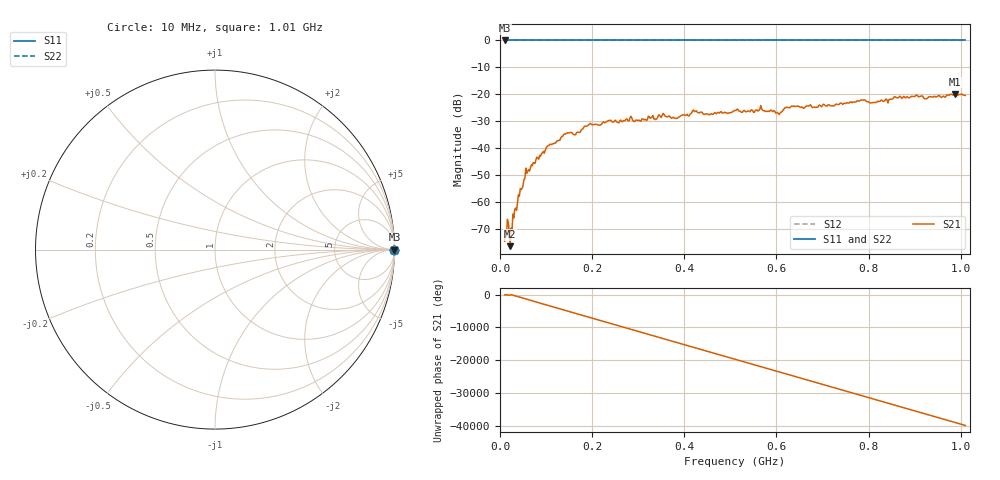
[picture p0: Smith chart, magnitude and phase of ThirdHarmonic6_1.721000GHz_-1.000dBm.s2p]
! 8/16/2025 8:43:11 PM
! C:\ANRITSUVNA\TEMP\TEMP.S2P
! CHANNEL.1
! TR.MEASUREMENT
! RAW.DATA
! RF.CORRECTION.OFF
! AVERAGING.OFF
! IF.BANDWIDTH: 5KHZ
! SWEEPTYPE:  FREQ.SWEEP(Linear)
! Reference Plane Port Info
! PORT:  PORT1  PORT2
! DISTANCE:  0  m  0  m
! TIME:  0  s  0  s
! PHASE.OFFSET:  0  deg.  0  deg.
! LOSS:  0  dB  0  dB
! REF.LOSS:  0  dB  0  dB
! REF.FREQ:  0  Hz  0  Hz
! Power Info
! POWER:  -20  dBm  -20  dBm
! EFF.POWER:  -20  dBm  -20  dBm
! SOURCE.ATTEN:  0  dB  0  dB
! TEST.ATTEN:  0  dB  0  dB
# GHZ S RI R 50.0
! FREQ.GHZ  S11RE  S11IM  S21RE  S21IM  S12RE  S12IM  S22RE  S22IM
!; PortSelection: Port_12
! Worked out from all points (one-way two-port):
!   501 points, 10 MHz to 1.01 GHz, reference 50 ohm
!   highest |S21| = -19.91 dB at 988 MHz (marker M1); lowest = -76.6 dB at 22 MHz (marker M2)
!   lowest |S11| = 0.0 dB at 10 MHz (marker M3)
!   |S11| at or under -10 dB: nowhere
!   |S22| runs from 0.0 to 0.0 dB; largest |S21 - S12| = 1.1
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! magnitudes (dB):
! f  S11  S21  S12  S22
! 10 MHz  0.0  -74.7  0.0  0.0
! 16 MHz  0.0  -66.6  0.0  0.0
! 22 MHz  0.0  -76.6  0.0  0.0
! 26 MHz  0.0  -71.1  0.0  0.0
! 28 MHz  0.0  -64.6  0.0  0.0
! 42 MHz  0.0  -58.0  0.0  0.0
! 60 MHz  0.0  -48.7  0.0  0.0
! 106 MHz  0.0  -39.1  0.0  0.0
! 142 MHz  0.0  -34.8  0.0  0.0
! 178 MHz  0.0  -33.0  0.0  0.0
! 236 MHz  0.0  -29.8  0.0  0.0
! 344 MHz  0.0  -27.8  0.0  0.0
! 382 MHz  0.0  -29.0  0.0  0.0
! 422 MHz  0.0  -26.5  0.0  0.0
! 510 MHz  0.0  -26.1  0.0  0.0
! 568 MHz  0.0  -25.5  0.0  0.0
! 604 MHz  0.0  -27.2  0.0  0.0
! 636 MHz  0.0  -24.5  0.0  0.0
! 678 MHz  0.0  -25.0  0.0  0.0
! 844 MHz  0.0  -22.0  0.0  0.0
! 988 MHz  0.0  -19.9  0.0  0.0
! 1.01 GHz  0.0  -20.5  0.0  0.0
